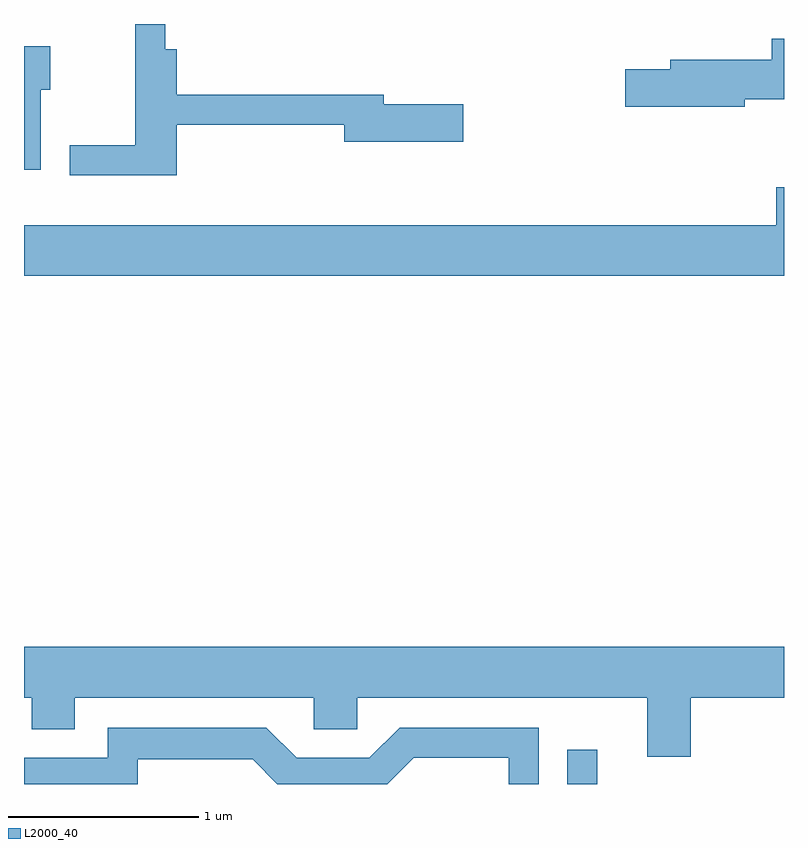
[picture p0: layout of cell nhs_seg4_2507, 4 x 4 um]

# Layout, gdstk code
import gdstk
lib = gdstk.Library(unit=1e-6, precision=1e-09)
def R(c, l, rs):  # rectangles x0, y0, x1, y1
    for r in rs: c.add(gdstk.rectangle(r[:2], r[2:], *l))
def P(c, l, *ps):  # polygons
    for p in ps: c.add(gdstk.Polygon(p, *l))
L2000_40 = (2000, 40)

nhs_seg4_2507 = lib.new_cell('nhs_seg4_2507')
R(nhs_seg4_2507, L2000_40, [(260.471,1371.982,260.629,1372.163)])
P(nhs_seg4_2507, L2000_40, [(258.414,1375.451),(259.296,1375.451),(259.296,1375.361),(259.924,1375.361),(259.924,1375.559),(259.504,1375.559),(259.504,1375.609),(258.414,1375.609),(258.414,1375.849),(258.354,1375.849),(258.354,1375.982),(258.196,1375.982),(258.196,1375.344),(257.853,1375.344),(257.853,1375.186),(258.414,1375.186)],
  [(261.404,1375.586),(261.611,1375.586),(261.611,1375.904),(261.546,1375.904),(261.546,1375.794),(261.011,1375.794),(261.011,1375.744),(260.776,1375.744),(260.776,1375.546),(261.404,1375.546)],
  [(257.699,1375.636),(257.749,1375.636),(257.749,1375.864),(257.611,1375.864),(257.611,1375.216),(257.699,1375.216)],
  [(261.611,1375.124),(261.571,1375.124),(261.571,1374.924),(257.611,1374.924),(257.611,1374.656),(261.611,1374.656)],
  [(261.119,1372.436),(261.611,1372.436),(261.611,1372.704),(257.611,1372.704),(257.611,1372.436),(257.651,1372.436),(257.651,1372.271),(257.879,1372.271),(257.879,1372.436),(259.136,1372.436),(259.136,1372.271),(259.364,1372.271),(259.364,1372.436),(260.891,1372.436),(260.891,1372.126),(261.119,1372.126)],
  [(258.209,1372.111),(258.814,1372.111),(258.943,1371.982),(259.523,1371.982),(259.662,1372.121),(260.161,1372.121),(260.161,1371.982),(260.319,1371.982),(260.319,1372.279),(259.589,1372.279),(259.429,1372.119),(259.046,1372.119),(258.887,1372.279),(258.051,1372.279),(258.051,1372.119),(257.611,1372.119),(257.611,1371.982),(258.209,1371.982)])

lib.write_gds('nhs_seg4_2507.gds')
